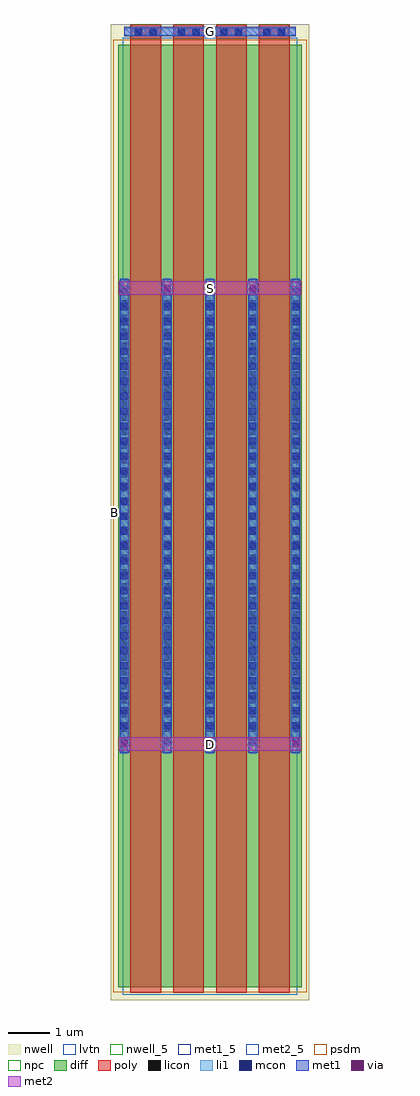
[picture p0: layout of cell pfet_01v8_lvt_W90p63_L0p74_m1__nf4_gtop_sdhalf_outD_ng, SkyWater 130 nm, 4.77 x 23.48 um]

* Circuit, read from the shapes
.subckt pfet_01v8_lvt_W90p63_L0p74_m1__nf4_gtop_sdhalf_outD_ng B D G S
XM1 S G D B sky130_fd_pr__pfet_01v8_lvt w=22.66 l=0.74 m=4
.ends

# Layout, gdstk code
import gdstk
lib = gdstk.Library(unit=1e-6, precision=1e-09)
def R(c, l, rs):  # rectangles x0, y0, x1, y1
    for r in rs: c.add(gdstk.rectangle(r[:2], r[2:], *l))
def A(c, l, x, y, w, h, nx, ny, dx, dy):  # array of equal rectangles
    R(c, l, [(x+i*dx, y+j*dy, x+i*dx+w, y+j*dy+h) for i in range(nx) for j in range(ny)])
nwell_5 = (64, 5)
nwell = (64, 20)
diff = (65, 20)
poly = (66, 20)
licon = (66, 44)
li1 = (67, 20)
mcon = (67, 44)
met1_5 = (68, 5)
met1 = (68, 20)
via = (68, 44)
met2_5 = (69, 5)
met2 = (69, 20)
psdm = (94, 20)
npc = (95, 20)
lvtn = (125, 44)

sky130_fd_pr__pfet_01v8_ = lib.new_cell('sky130_fd_pr__pfet_01v8_lvt_6GPLT3')
R(sky130_fd_pr__pfet_01v8_, nwell, [(-2.385,-11.82,2.385,11.65)])
R(sky130_fd_pr__pfet_01v8_, diff, [(-2.205,-11.51,2.205,11.15)])
A(sky130_fd_pr__pfet_01v8_, poly, -1.915, -11.64, 0.74, 23.275, 4, 1, 1.03, 0)
A(sky130_fd_pr__pfet_01v8_, licon, -2.145, -5.705, 0.17, 0.17, 5, 33, 1.03, 0.34)
R(sky130_fd_pr__pfet_01v8_, licon, [(-1.8,11.385,-1.63,11.555), (-1.46,11.385,-1.29,11.555), (-0.77,11.385,-0.6,11.555), (-0.43,11.385,-0.26,11.555), (0.26,11.385,0.43,11.555), (0.6,11.385,0.77,11.555), (1.29,11.385,1.46,11.555), (1.63,11.385,1.8,11.555)])
A(sky130_fd_pr__pfet_01v8_, li1, -2.145, -5.895, 0.17, 11.43, 5, 1, 1.03, 0)
R(sky130_fd_pr__pfet_01v8_, li1, [(-2.06,11.385,2.06,11.555)])
A(sky130_fd_pr__pfet_01v8_, mcon, -2.145, -5.665, 0.17, 0.17, 5, 31, 1.03, 0.36)
R(sky130_fd_pr__pfet_01v8_, mcon, [(-1.81,11.385,-1.64,11.555), (-1.45,11.385,-1.28,11.555), (-0.78,11.385,-0.61,11.555), (-0.42,11.385,-0.25,11.555), (0.25,11.385,0.42,11.555), (0.61,11.385,0.78,11.555), (1.28,11.385,1.45,11.555), (1.64,11.385,1.81,11.555)])
A(sky130_fd_pr__pfet_01v8_, met1, -2.175, -5.875, 0.23, 11.39, 5, 1, 1.03, 0)
A(sky130_fd_pr__pfet_01v8_, met1, -1.895, 11.355, 0.7, 0.03, 4, 2, 1.03, 0.2)
R(sky130_fd_pr__pfet_01v8_, met1, [(-2.06,11.385,2.06,11.555)])
R(sky130_fd_pr__pfet_01v8_, psdm, [(-2.33,-11.635,2.33,11.275)])
A(sky130_fd_pr__pfet_01v8_, npc, -1.9, 11.285, 0.71, 0.37, 4, 1, 1.03, 0)
R(sky130_fd_pr__pfet_01v8_, lvtn, [(-2.095,-11.69,2.095,11.33)])
sky130_fd_pr__pfet_01v8_.add(gdstk.Label('D0', (-2.06,-0.18), layer=67, texttype=5))
sky130_fd_pr__pfet_01v8_.add(gdstk.Label('G', (1.545,11.47), layer=67, texttype=5))
sky130_fd_pr__pfet_01v8_.add(gdstk.Label('G', (0.515,11.47), layer=67, texttype=5))
sky130_fd_pr__pfet_01v8_.add(gdstk.Label('G', (-0.515,11.47), layer=67, texttype=5))
sky130_fd_pr__pfet_01v8_.add(gdstk.Label('G', (-1.545,11.47), layer=67, texttype=5))
sky130_fd_pr__pfet_01v8_.add(gdstk.Label('S1', (-1.03,-0.18), layer=67, texttype=5))
sky130_fd_pr__pfet_01v8_.add(gdstk.Label('D2', (0,-0.18), layer=67, texttype=5))
sky130_fd_pr__pfet_01v8_.add(gdstk.Label('S3', (1.03,-0.18), layer=67, texttype=5))

pfet_01v8_lvt_w90p63_l0p = lib.new_cell('pfet_01v8_lvt_W90p63_L0p74_m1__nf4_gtop_sdhalf_outD_ng')
R(pfet_01v8_lvt_w90p63_l0p, nwell_5, [(0.05,11.685,0.15,11.785)])
R(pfet_01v8_lvt_w90p63_l0p, nwell, [(0.05,11.685,0.15,11.785)])
R(pfet_01v8_lvt_w90p63_l0p, met1_5, [(0.325,23.175,4.445,23.405)])
A(pfet_01v8_lvt_w90p63_l0p, met1, 0.195, 5.995, 0.26, 0.32, 3, 1, 2.06, 0)
R(pfet_01v8_lvt_w90p63_l0p, met1, [(1.225,16.965,1.485,17.285), (3.285,16.965,3.545,17.285), (0.325,23.175,4.445,23.405)])
A(pfet_01v8_lvt_w90p63_l0p, via, 0.25, 6.08, 0.15, 0.15, 3, 1, 2.06, 0)
R(pfet_01v8_lvt_w90p63_l0p, via, [(1.28,17.05,1.43,17.2), (3.34,17.05,3.49,17.2)])
R(pfet_01v8_lvt_w90p63_l0p, met2_5, [(0.19,5.995,4.58,6.315), (0.19,16.965,4.58,17.285)])
R(pfet_01v8_lvt_w90p63_l0p, met2, [(0.19,5.995,4.58,6.315), (0.19,16.965,4.58,17.285)])
pfet_01v8_lvt_w90p63_l0p.add(gdstk.Reference(sky130_fd_pr__pfet_01v8_, (2.385,11.82)))
pfet_01v8_lvt_w90p63_l0p.add(gdstk.Label('S', (2.385,17.125), layer=69, texttype=5))
pfet_01v8_lvt_w90p63_l0p.add(gdstk.Label('D', (2.385,6.155), layer=69, texttype=5))
pfet_01v8_lvt_w90p63_l0p.add(gdstk.Label('G', (2.385,23.29), layer=68, texttype=5))
pfet_01v8_lvt_w90p63_l0p.add(gdstk.Label('B', (0.1,11.735), layer=64, texttype=5))

lib.write_gds('pfet_01v8_lvt_W90p63_L0p74_m1__nf4_gtop_sdhalf_outD_ng.gds')
